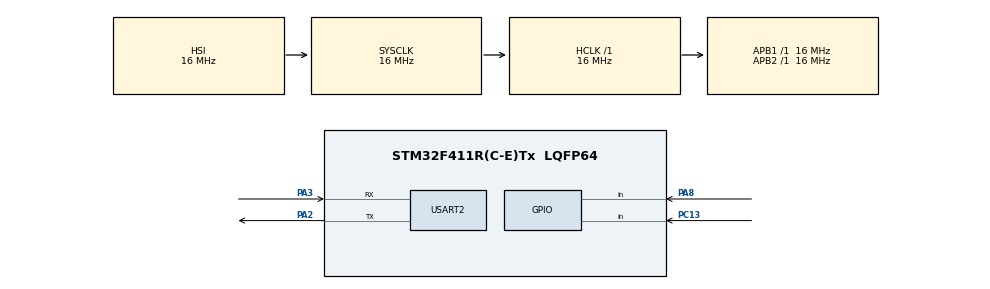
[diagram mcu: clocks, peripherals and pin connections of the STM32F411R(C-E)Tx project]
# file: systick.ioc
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Mcu.Family=STM32F4
Mcu.Name=STM32F411R(C-E)Tx
Mcu.Package=LQFP64
NVIC.PriorityGroup=NVIC_PRIORITYGROUP_4
NVIC.USART2_IRQn=true\:0\:0\:false\:false\:true\:true\:true\:true
PA2.Mode=Asynchronous
PA2.Signal=USART2_TX
PA3.Mode=Asynchronous
PA3.Signal=USART2_RX
PA8.Signal=GPIO_Input
PC13-ANTI_TAMP.Signal=GPIO_Input
ProjectManager.HeapSize=0x200
ProjectManager.StackSize=0x400
ProjectManager.TargetToolchain=STM32CubeIDE
RCC.AHBFreq_Value=16000000
RCC.APB1Freq_Value=16000000
RCC.APB2Freq_Value=16000000
RCC.CortexFreq_Value=16000000
RCC.HSE_VALUE=25000000
RCC.HSI_VALUE=16000000
RCC.LSE_VALUE=32768
RCC.SYSCLKFreq_VALUE=16000000
RCC.VCOOutputFreq_Value=192000000
USART2.VirtualMode=VM_ASYNC
board=custom

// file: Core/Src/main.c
/* USER CODE BEGIN Header */
/**
 ******************************************************************************
 * @file           : main.c
 * @brief          : Main program body
 ******************************************************************************
 * @attention
 *
 * Copyright (c) 2024 STMicroelectronics.
 * All rights reserved.
 *
 * This software is licensed under terms that can be found in the LICENSE file
 * in the root directory of this software component.
 * If no LICENSE file comes with this software, it is provided AS-IS.
 *
 ******************************************************************************
 */
/* USER CODE END Header */
#include "main.h"

/* USER CODE BEGIN Includes */
#include "uart.h"
#include <stdbool.h>//for boolean
#include <stdio.h>
/* USER CODE END Includes */

UART_HandleTypeDef huart2;

void SystemClock_Config(void);
static void MX_GPIO_Init(void);
static void MX_USART2_UART_Init(void);

/* USER CODE BEGIN 0 */
//remove chattering
bool curSwitch;

//two picese start behavior
int countA;
int countB;
void SystickCallback(){
	if(countA > 0) countA--;
	if(countB > 0) countB--;
	static uint32_t bufSwitch = 0x55555555;
	// update state of switch
	bufSwitch = bufSwitch << 1;
	if(HAL_GPIO_ReadPin(GPIOA, GPIO_PIN_8) == 0)
		bufSwitch += 0;
	else
		bufSwitch += 1;
	// judgement switch
	if(bufSwitch == 0xffffffff) curSwitch = 1;
	if(bufSwitch == 0x00000000) curSwitch = 0;

}
/* USER CODE END 0 */

int main(void)
{

  /* MCU Configuration--------------------------------------------------------*/

  /* Reset of all peripherals, Initializes the Flash interface and the Systick. */
  HAL_Init();

  /* Configure the system clock */
  SystemClock_Config();

  /* Initialize all configured peripherals */
  MX_GPIO_Init();
  MX_USART2_UART_Init();
  /* USER CODE BEGIN 2 */
	initUart(&huart2);
	uint8_t count;
	bool oldSwitch = curSwitch;
	HAL_GPIO_ReadPin(GPIOA, GPIO_PIN_8);
  /* USER CODE END 2 */

  /* Infinite loop */
  /* USER CODE BEGIN WHILE */
	while (1){
		if(curSwitch^oldSwitch){
			//down
			if(curSwitch){

			}
			else{
				count++;
				printf("count = %d\n", count);
				if (count ==40) countB = -1;
				if (count ==50) countB = 0;
				HAL_GetTick();
				//HAL_Delay(20); the code which exist delay is worst code.
			}
			//update state
			oldSwitch = curSwitch;
		}
		if(countA ==0){
			countA = 523;
			printf("count A\n");
		}
		if(countB==0){
			countB=762;
		  printf("count B\n");
		}
    /* USER CODE END WHILE */

	}
}

void SystemClock_Config(void)
{
  RCC_OscInitTypeDef RCC_OscInitStruct = {0};
  RCC_ClkInitTypeDef RCC_ClkInitStruct = {0};

  /** Configure the main internal regulator output voltage
  */
  __HAL_RCC_PWR_CLK_ENABLE();
  __HAL_PWR_VOLTAGESCALING_CONFIG(PWR_REGULATOR_VOLTAGE_SCALE1);

  /** Initializes the RCC Oscillators according to the specified parameters
  * in the RCC_OscInitTypeDef structure.
  */
  RCC_OscInitStruct.OscillatorType = RCC_OSCILLATORTYPE_HSI;
  RCC_OscInitStruct.HSIState = RCC_HSI_ON;
  RCC_OscInitStruct.HSICalibrationValue = RCC_HSICALIBRATION_DEFAULT;
  RCC_OscInitStruct.PLL.PLLState = RCC_PLL_NONE;
  if (HAL_RCC_OscConfig(&RCC_OscInitStruct) != HAL_OK)
  {
    Error_Handler();
  }

  /** Initializes the CPU, AHB and APB buses clocks
  */
  RCC_ClkInitStruct.ClockType = RCC_CLOCKTYPE_HCLK|RCC_CLOCKTYPE_SYSCLK
                              |RCC_CLOCKTYPE_PCLK1|RCC_CLOCKTYPE_PCLK2;
  RCC_ClkInitStruct.SYSCLKSource = RCC_SYSCLKSOURCE_HSI;
  RCC_ClkInitStruct.AHBCLKDivider = RCC_SYSCLK_DIV1;
  RCC_ClkInitStruct.APB1CLKDivider = RCC_HCLK_DIV1;
  RCC_ClkInitStruct.APB2CLKDivider = RCC_HCLK_DIV1;

  if (HAL_RCC_ClockConfig(&RCC_ClkInitStruct, FLASH_LATENCY_0) != HAL_OK)
  {
    Error_Handler();
  }
}

static void MX_USART2_UART_Init(void)
{

  huart2.Instance = USART2;
  huart2.Init.BaudRate = 115200;
  huart2.Init.WordLength = UART_WORDLENGTH_8B;
  huart2.Init.StopBits = UART_STOPBITS_1;
  huart2.Init.Parity = UART_PARITY_NONE;
  huart2.Init.Mode = UART_MODE_TX_RX;
  huart2.Init.HwFlowCtl = UART_HWCONTROL_NONE;
  huart2.Init.OverSampling = UART_OVERSAMPLING_16;
  if (HAL_UART_Init(&huart2) != HAL_OK)
  {
    Error_Handler();
  }

}

static void MX_GPIO_Init(void)
{
  GPIO_InitTypeDef GPIO_InitStruct = {0};

  /* GPIO Ports Clock Enable */
  __HAL_RCC_GPIOC_CLK_ENABLE();
  __HAL_RCC_GPIOA_CLK_ENABLE();

  /*Configure GPIO pin : PC13 */
  GPIO_InitStruct.Pin = GPIO_PIN_13;
  GPIO_InitStruct.Mode = GPIO_MODE_INPUT;
  GPIO_InitStruct.Pull = GPIO_NOPULL;
  HAL_GPIO_Init(GPIOC, &GPIO_InitStruct);

  /*Configure GPIO pin : PA8 */
  GPIO_InitStruct.Pin = GPIO_PIN_8;
  GPIO_InitStruct.Mode = GPIO_MODE_INPUT;
  GPIO_InitStruct.Pull = GPIO_NOPULL;
  HAL_GPIO_Init(GPIOA, &GPIO_InitStruct);

}

void Error_Handler(void)
{
	__disable_irq();
	while (1){
	}
}
